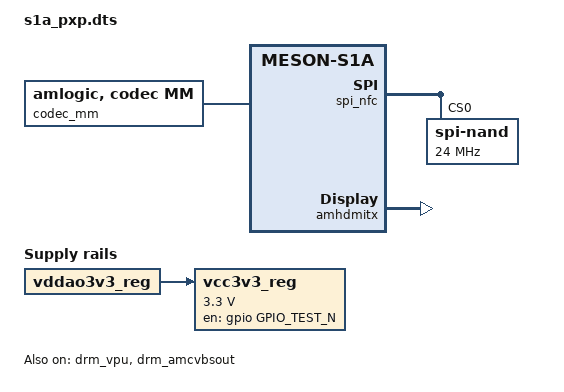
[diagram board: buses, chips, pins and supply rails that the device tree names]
// SPDX-License-Identifier: (GPL-2.0+ OR MIT)
/*
 * Copyright (c) 2019 Amlogic, Inc. All rights reserved.
 */

/dts-v1/;

#include "meson-s1a.dtsi"
#include "mesons1a_drm.dtsi"
#include <dt-bindings/input/input.h>

/ {
	amlogic-dt-id = "s1a_pxp";
	compatible = "s1a_pxp";
	interrupt-parent = <&gic>;
	#address-cells = <1>;
	#size-cells = <1>;

	aliases {
		serial0 = &uart_B;
		i2c1 = &i2c1;
		spi0 = &spi_nfc;
		tsensor0 = &p_tsensor;
	};

	memory@00000000 {
		device_type = "memory";
		linux,usable-memory = <0x0 0x10000000>;
	};

	reserved-memory {
		#address-cells = <1>;
		#size-cells = <1>;
		ranges;

		/* global autoconfigured region for contiguous allocations */
		ramoops@0x07400000 {
			compatible = "ramoops";
			reg = <0x07400000 0x00100000>;
			record-size = <0x20000>;
			console-size = <0x40000>;
			ftrace-size = <0x80000>;
			pmsg-size = <0x10000>;
			bconsole-size = <0x10000>;
		};

		dmc_reserved:linux,dmc_monitor {
			compatible = "amlogic,dmc_monitor-reserved";
			reg = <0x0 0x0>;
			status = "disabled";
		};

		debug_reserved:linux,iotrace {
			compatible = "amlogic, iotrace";
			reg = <0x04f00000 0x00100000>;
			io-size = <0x1b000>;
			sched-size = <0x2000>;
			irq-size = <0x1000>;
			smc-size = <0x1000>;
			misc-size = <0x1000>;
		};

		secmon_reserved:linux,secmon {
			compatible = "shared-dma-pool";
			/*reusable;*/
			no-map;
			size = <0x200000>;
			alignment = <0x100000>;
			alloc-ranges = <0x05000000 0x200000>;
		};

		logo_reserved:linux,meson-fb {
			compatible = "amlogic, meson-fb";
			size = <0x400000>;
			alignment = <0x400000>;
			reg = <0x0fc00000 0x400000>;
		};

		ion_cma_reserved:linux,ion-dev {
			compatible = "shared-dma-pool";
			status = "disabled";
			reusable;
			size = <0x0>;
			alignment = <0x400000>;
		};
		ion_fb_reserved:linux,ion-fb {
			compatible = "shared-dma-pool";
			status = "disabled";
			reusable;
			size = <0x0>;
			alignment = <0x400000>;
		};
		dmaheap_cma_reserved:heap-gfx {
			compatible = "shared-dma-pool";
			reusable;
			size = <0x1000000>;
			alignment = <0x400000>;
		};

		/*di CMA pool */
		di_cma_reserved:linux,di_cma {
			compatible = "shared-dma-pool";
			reusable;
			/* buffer_size = 3621952(yuv422 8bit)
			 *  | 4736064(yuv422 10bit)
			 *  | 4074560(yuv422 10bit full pack mode)
			 * 10x3621952=34.6M(0x23) support 8bit
			 * 10x4736064=45.2M(0x2e) support 12bit
			 * 10x4074560=40M(0x28) support 10bit
			 */
			//size = <0x0 0x0B000000>;
			//size = <0x0 0x0>;
			alignment = <0x400000>;
		};

		codec_mm_cma:linux,codec_mm_cma {
			compatible = "shared-dma-pool";
			reusable;
			/* ion_codec_mm max can alloc size 80M*/
			size = <0x4000000>;
			alignment = <0x400000>;
			linux,contiguous-region;
		};

		/* global autoconfigured region for contiguous allocations */
		linux,cma {
			compatible = "shared-dma-pool";
			reusable;
			size = <0x800000>;
			alignment = <0x400000>;
			linux,cma-default;
			alloc-ranges = <0x0 0x30000000>;
		};
	};

	codec_mm {
		compatible = "amlogic, codec, mm";
		memory-region = <&codec_mm_cma>;
		dev_name = "codec_mm";
		status = "okay";
	};

	cvbsout {
		compatible = "amlogic, cvbsout-s4";
		status = "disabled";

		/* clk path */
		/* 0:vid_pll vid2_clk */
		/* 1:gp0_pll vid2_clk */
		/* 2:vid_pll vid1_clk */
		/* 3:gp0_pll vid1_clk */
		clk_path = <0>;

		/* performance: reg_address, reg_value */
		/* s4 */
		performance_pal = <0x1bf0  0x9 /* default Matrx625 CTCC value*/
			0x1b12  0x80c0
			0x1b05  0xf7
			0x1b56  0x333
			0x1c59  0xf25c
			0xffff  0x0>; /* ending flag */
		performance = <0x1bf0  0x9 /* ccitt033 SVA value */
			0x1b12  0x8040
			0x1b05  0xfd
			0x1b56  0x333
			0x1c59  0xf654
			0xffff  0x0>; /* ending flag */
		performance_ntsc = <0x1bf0  0x9
			0x1b12  0x8020
			0x1b03  0x0
			0x1b04  0x0
			0x1b05  0x0
			0x1b06  0x0
			0x1b56  0x333
			0x1c59  0xf850
			0xffff  0x0>; /* ending flag */
	};

	dvb-extern {
		compatible = "amlogic, dvb-extern";
		dev_name = "dvb-extern";
		status = "disabled";

		/* dvb hardware main power. */
		//dvb_power_gpio = <&gpio GPIOZ_5 GPIO_ACTIVE_HIGH>;
		dvb_power_value = <0>;
		dvb_power_dir = <0>; /* 0: out, 1: in. */

		fe_num = <1>; /* internal 1 * dvb-s */
		fe0_demod = "internal";
		fe0_tuner0 = <0>; /* use tuner0 */

		tuner_num = <1>; /* tuner number, multi tuner support */
		tuner0_name = "av2018_tuner";
		// tuner0_i2c_adap = <&i2c3>;
		tuner0_i2c_addr = <0xC4>; /* 8bit */
		tuner0_lt_out = <0>;
	};

	dvb-demux {
		compatible = "amlogic sc2, dvb-demux";
		dev_name = "dvb-demux";
		status = "disabled";

		reg = <0xfe000000 0x480000>;

		dmxdev_num = <0x11>;

		tsn_from = "demod";

		/*single demod setting */
		ts0_sid = <0x10>;
		ts0 = "serial-4wire"; /* tsinA: serial-4wire, serial-3wire */
		ts0_control = <0x0>;
		ts0_invert = <0>;

		ts1_sid = <0x11>;
		ts1 = "parallel";
		ts1_control = <0x0>;
		ts1_invert = <0>;

		ts2_sid = <0x12>;
		ts2 = "parallel";
		ts2_control = <0x0>;
		ts2_invert = <0>;

		//pinctrl-names = "s_ts0";
		//pinctrl-0 = <&dvb_s_ts0_pins>;
	};

	ionvideo {
		compatible = "amlogic, ionvideo";
		dev_name = "ionvideo";
		status = "disabled";
	};

	amlvideo2_0 {
		compatible = "amlogic, amlvideo2";
		dev_name = "amlvideo2";
		status = "disabled";
		amlvideo2_id = <0>;
		cma_mode = <1>;
	};

	amlvideo2_1 {
		compatible = "amlogic, amlvideo2";
		dev_name = "amlvideo2";
		status = "disabled";
		amlvideo2_id = <1>;
		cma_mode = <1>;
	};

	amlvecm {
		compatible = "amlogic, vecm";
		dev_name = "aml_vecm";
		status = "disabled";
		gamma_en = <0>;/*1:enable ;0:disable*/
		wb_en = <0>;/*1:enable ;0:disable*/
		cm_en = <0>;/*1:enable ;0:disable*/
		/*0: 709/601  1: bt2020*/
		tx_op_color_primary = <0>;
	};

	multi-di {
		compatible = "amlogic, dim-s4";
		status = "disabled";
		/* 0:use reserved; 1:use cma; 2:use cma as reserved */
		flag_cma = <4>;	//<1>;
		//memory-region = <&di_reserved>;
		//memory-region = <&di_cma_reserved>;
		interrupts = <0 203 1
				0 202 1>;
		interrupt-names = "pre_irq", "post_irq";
		//clocks = <&clkc CLKID_VPU_CLKB>,
		//	<&clkc CLKID_VPU>;
		clock-names = "vpu_clkb",
			"vpu_mux";
		clock-range = <334 667>;
		/* buffer-size = <3621952>;(yuv422 8bit) */
		buffer-size = <4074560>;/*yuv422 fullpack*/
		/* reserve-iomap = "true"; */
		/* if enable nr10bit, set nr10bit-support to 1 */
		post-wr-support = <1>;
		nr10bit-support = <1>;
		nrds-enable = <1>;
		pps-enable = <1>;
		post_nub = <5>;
	};

	aml_dtv_demod {
		compatible = "amlogic, ddemod-s4d";
		dev_name = "aml_dtv_demod";
		status = "disabled";
		diseqc_name = "sgm_41286";
		pinctrl-names="if_agc_pins", "if_agc2_pins", "rf_agc_pins", "diseqc_out";
		pinctrl-0=<&dtvdemod_if_agc_pins>;
		pinctrl-1=<&dtvdemod_if_agc2_pins>;
		pinctrl-2=<&dtvdemod_rf_agc_pins>;
		pinctrl-3=<&diseqc_out>;
		//pinctrl-4=<&diseqc_in>;
		//lnb_en-gpios = <&gpio GPIOZ_6 GPIO_ACTIVE_HIGH>;
		//lnb_sel-gpios = <&gpio GPIOZ_4 GPIO_ACTIVE_HIGH>;
		interrupts = <GIC_SPI 221 IRQ_TYPE_EDGE_RISING>;
		interrupt-names = "demod_isr";

		//power-domains = <&pwrdm PDID_S4_DEMOD>;
		/* clocks = <&clkc CLKID_DAC_CLK>; */
		/* clock-names = "vdac_clk_gate"; */

		reg = <0xfe350000 0x10000	/* dtv demod base */
			   0xfe000000 0x2000	/* div base */
			   0xff800000 0x1000	/* io_aobus_base */
			   0xffd01000 0x1000	/* reset */
			>;

		spectrum = <1>;
		cma_mem_size = <0>; // MB
		agc_pin_direction;//for S4D av2018 rf agc reverse
	};

	unifykey{
		compatible = "amlogic,unifykey";
		status = "okay";
		unifykey-num = <19>;
		unifykey-index-0 = <&keysn_0>;
		unifykey-index-1 = <&keysn_1>;
		unifykey-index-2 = <&keysn_2>;
		unifykey-index-3 = <&keysn_3>;
		unifykey-index-4 = <&keysn_4>;
		unifykey-index-5 = <&keysn_5>;
		unifykey-index-6 = <&keysn_6>;
		unifykey-index-7 = <&keysn_7>;
		unifykey-index-8 = <&keysn_8>;
		unifykey-index-9 = <&keysn_9>;
		unifykey-index-10= <&keysn_10>;
		unifykey-index-11= <&keysn_11>;
		unifykey-index-12= <&keysn_12>;
		unifykey-index-13= <&keysn_13>;
		unifykey-index-14= <&keysn_14>;
		unifykey-index-15= <&keysn_15>;
		unifykey-index-16= <&keysn_16>;
		unifykey-index-17= <&keysn_17>;
		unifykey-index-18= <&keysn_18>;

		keysn_0: key_0{
			key-name = "usid";
			key-device = "normal";
			key-permit = "read","write","del";
		};
		keysn_1:key_1{
			key-name = "mac";
			key-device = "normal";
			key-permit = "read","write","del";
		};
		keysn_2:key_2{
			key-name = "hdcp";
			key-device = "secure";
			key-type = "sha1";
			key-permit = "read","write","del";
		};
		keysn_3:key_3{
			key-name = "secure_boot_set";
			key-device = "efuse";
			key-permit = "write";
		};
		keysn_4:key_4{
			key-name = "mac_bt";
			key-device = "normal";
			key-permit = "read","write","del";
			key-type  = "mac";
		};
		keysn_5:key_5{
			key-name = "mac_wifi";
			key-device = "normal";
			key-permit = "read","write","del";
			key-type = "mac";
		};
		keysn_6:key_6{
			key-name = "hdcp2_tx";
			key-device = "normal";
			key-permit = "read","write","del";
		};
		keysn_7:key_7{
			key-name = "hdcp2_rx";
			key-device = "normal";
			key-permit = "read","write","del";
		};
		keysn_8:key_8{
			key-name = "widevinekeybox";
			key-device = "secure";
			key-permit = "read","write","del";
		};
		keysn_9:key_9{
			key-name = "deviceid";
			key-device = "normal";
			key-permit = "read","write","del";
		};
		keysn_10:key_10{
			key-name = "hdcp22_fw_private";
			key-device = "secure";
			key-permit = "read","write","del";
		};
		keysn_11:key_11{
			key-name = "PlayReadykeybox25";
			key-device = "secure";
			key-permit = "read","write","del";
		};
		keysn_12:key_12{
			key-name = "prpubkeybox";// PlayReady
			key-device = "secure";
			key-permit = "read","write","del";
		};
		keysn_13:key_13{
			key-name = "prprivkeybox";// PlayReady
			key-device = "secure";
			key-permit = "read","write","del";
		};
		keysn_14:key_14{
			key-name = "attestationkeybox";// attestation key
			key-device = "secure";
			key-permit = "read","write","del";
		};
		keysn_15:key_15{
			key-name = "region_code";
			key-device = "normal";
			key-permit = "read","write","del";
		};
		keysn_16:key_16{
			key-name = "netflix_mgkid";
			key-device = "secure";
			key-permit = "read","write","del";
		};
		keysn_17:key_17{
			key-name = "attestationdevidbox";// attest dev id box
			key-device = "secure";
			key-permit = "read","write","del";
		};
		keysn_18:key_18{
			key-name = "oemkey";
			key-device = "normal";
			key-permit = "read","write","del";
		};
	};//End unifykey

	efusekey:efusekey{
		keynum = <4>;
		key0 = <&key_0>;
		key1 = <&key_1>;
		key2 = <&key_2>;
		key3 = <&key_3>;
		key_0:key_0{
			keyname = "mac";
			offset = <0>;
			size = <6>;
		};
		key_1:key_1{
			keyname = "mac_bt";
			offset = <6>;
			size = <6>;
		};
		key_2:key_2{
			keyname = "mac_wifi";
			offset = <12>;
			size = <6>;
		};
		key_3:key_3{
			keyname = "usid";
			offset = <18>;
			size = <16>;
		};
	};//End efusekey

	vcc3v3_reg: fixed@vcc3v3_reg{
		compatible = "regulator-fixed";
		vin-supply = <&vddao3v3_reg>;
		regulator-name = "VCC3V3";
		regulator-min-microvolt = <3300000>;
		regulator-max-microvolt = <3300000>;
		gpio = <&gpio GPIO_TEST_N GPIO_ACTIVE_HIGH>;
		startup-delay-us = <70000>;
		enable-active-high;
		regulator-boot-on;
		regulator-always-on;
	};

	/* Audio Related start */
	auge_sound {
		compatible = "amlogic, auge-sound-card";
		status = "disabled";
		aml-audio-card,name = "AML-AUGESOUND";

		/*avout mute gpio*/
		//avout_mute-gpios = <&gpio GPIOH_9 GPIO_ACTIVE_HIGH>;
		//spk_mute-gpios = <&gpio GPIOH_8 GPIO_ACTIVE_LOW>;

		aml-audio-card,dai-link@0 {
			format = "dsp_a";
			mclk-fs = <512>;
			//continuous-clock;
			//bitclock-inversion;
			//frame-inversion;
			/* master mode */
			bitclock-master = <&tdma>;
			frame-master = <&tdma>;
			/* slave mode */
			/*
			 * bitclock-master = <&tdmacodec>;
			 * frame-master = <&tdmacodec>;
			 */
			suffix-name = "alsaPORT-pcm";
			tdmacpu: cpu {
				sound-dai = <&tdma>;
				dai-tdm-slot-tx-mask =
							<1>;
				dai-tdm-slot-rx-mask =
							<1>;
				dai-tdm-slot-num = <2>;
				dai-tdm-slot-width = <16>;
				system-clock-frequency = <256000>;
			};
			tdmacodec: codec {
				sound-dai = <&dummy_codec>;
			};
		};

		aml-audio-card,dai-link@1 {
			format = "i2s";// "dsp_a";
			mclk-fs = <256>;
			continuous-clock;
			//bitclock-inversion;
			//frame-inversion;
			/* master mode */
			bitclock-master = <&tdmb>;
			frame-master = <&tdmb>;
			/* slave mode */
			//bitclock-master = <&tdmbcodec>;
			//frame-master = <&tdmbcodec>;
			/* suffix-name, sync with android audio hal
			 * what's the dai link used for
			 */
			suffix-name = "alsaPORT-i2s";
			cpu {
				sound-dai = <&tdmb>;
				dai-tdm-slot-tx-mask = <1 1>;
				dai-tdm-slot-rx-mask = <1 1>;
				dai-tdm-slot-num = <2>;
				/*
				 * dai-tdm-slot-tx-mask =
				 *	<1 1 1 1 1 1 1 1>;
				 * dai-tdm-slot-rx-mask =
				 *	<1 1 1 1 1 1 1 1>;
				 * dai-tdm-slot-num = <8>;
				 */
				dai-tdm-slot-width = <32>;
				system-clock-frequency = <12288000>;
			};
			tdmbcodec: codec {
				sound-dai = <&amlogic_codec>;
			};
		};

		aml-audio-card,dai-link@2 {
			format = "i2s";
			mclk-fs = <256>;
			//continuous-clock;
			//bitclock-inversion;
			//frame-inversion;
			/* master mode */
			bitclock-master = <&tdmc>;
			frame-master = <&tdmc>;
			/* slave mode */
			//bitclock-master = <&tdmccodec>;
			//frame-master = <&tdmccodec>;
			/* suffix-name, sync with android audio hal used for */
			suffix-name = "alsaPORT-i2s";
			cpu {
				sound-dai = <&tdmc>;
				dai-tdm-slot-tx-mask = <1 1>;
				dai-tdm-slot-rx-mask = <1 1>;
				dai-tdm-slot-num = <2>;
				dai-tdm-slot-width = <32>;
				system-clock-frequency = <12288000>;
			};
			tdmccodec: codec {
				sound-dai = <&dummy_codec>;
			};
		};

		aml-audio-card,dai-link@3 {
			mclk-fs = <64>;
			/* suffix-name, sync with android audio hal
			 * what's the dai link used for
			 */
			suffix-name = "alsaPORT-pdm-builtinmic";
			cpu {
				sound-dai = <&apdm>;
			};
			codec {
				sound-dai = <&dummy_codec>;
			};
		};

		aml-audio-card,dai-link@4 {
			mclk-fs = <128>;
			/* suffix-name, sync with android audio hal used for */
			suffix-name = "alsaPORT-spdif";
			cpu {
				sound-dai = <&spdifa>;
				system-clock-frequency = <6144000>;
			};
			codec {
				sound-dai = <&dummy_codec>;
			};
		};
		/* spdif_b to hdmi, only playback */
		aml-audio-card,dai-link@5 {
			mclk-fs = <128>;
			continuous-clock;
			/* suffix-name, sync with android audio hal
			 * what's the dai link used for
			 */
			suffix-name = "alsaPORT-spdifb";
			cpu {
				sound-dai = <&spdifb>;
				system-clock-frequency = <6144000>;
			};
			codec {
				sound-dai = <&dummy_codec>;
			};
		};

		aml-audio-card,dai-link@6 {
			mclk-fs = <256>;
			continuous-clock;
			suffix-name = "alsaPORT-loopback";
			cpu {
				sound-dai = <&loopbacka>;
				system-clock-frequency = <12288000>;
			};
			codec {
				sound-dai = <&dummy_codec>;
			};
		};
	};

	picdec {
		compatible = "amlogic, picdec";
		status = "disabled";
	};

	audiolocker: locker {
		compatible = "amlogic, audiolocker";
		clock-names = "lock_out", "lock_in", "out_src",
					"in_src", "out_calc", "in_ref";
		interrupts = <GIC_SPI 1 IRQ_TYPE_EDGE_RISING>;
		interrupt-names = "irq";
		frequency = <49000000>; /* pll */
		dividor = <49>; /* locker's parent */
		status = "disabled";
	};/* Audio Related end */

	adc_keypad {
		compatible = "amlogic, adc_keypad";
		status = "disabled";
		key_name = "standby", "vol+", "vol-";
		key_num = <3>;
		io-channels = <&saradc 0>;
		io-channel-names = "key-chan-0";
		key_chan = <0 0 0>;
		key_code = <116 115 114>;
		key_val = <20 910 630>; //val=voltage/1800mV*1023
		key_tolerance = <40 40 40>;
	};

	gpio_keypad{
		compatible = "amlogic, gpio_keypad";
		status = "disabled";
		scan_period = <20>;
		key_num = <2>;
		key_name = "bluetooth", "mute";
		key_code = <600 SW_MUTE_DEVICE>;
		key_type = <EV_KEY EV_SW>;
		//key-gpios = <&gpio  GPIOD_6  GPIO_ACTIVE_HIGH
		//	     &gpio  GPIOD_3  GPIO_ACTIVE_HIGH>;
		detect_mode = <0>;/*0:polling mode, 1:irq mode*/
	};
};

&vddcpu0 {
	status = "okay";
};

&audiobus {
	status = "disabled";
	tdma: tdm@0 {
		compatible = "amlogic, t5-snd-tdma";
		#sound-dai-cells = <0>;
		dai-tdm-lane-slot-mask-in = <1>;
		dai-tdm-lane-slot-mask-out = <1 0>;
		dai-tdm-clk-sel = <0>;
		//clocks = <&clkaudio CLKID_AUDIO_MCLK_A
		//		&clkc CLKID_MPLL0>;
		clock-names = "mclk", "clk_srcpll";
		pinctrl-names = "tdm_pins";
		pinctrl-0 = <&tdm_a
			&tdm_d0_pins
			&tdm_d1_pins
			&tdma_clk_pins>;

		status = "disabled";
	};

	tdmb: tdm@1 {
		compatible = "amlogic, t5-snd-tdmb";
		#sound-dai-cells = <0>;
		dai-tdm-lane-slot-mask-out = <1 1 1 1>;
		dai-tdm-clk-sel = <1>;
		//clocks = <&clkaudio CLKID_AUDIO_MCLK_B
		//		&clkaudio CLKID_AUDIO_MCLK_PAD0
		//		&clkc CLKID_MPLL1>;
		clock-names = "mclk", "mclk_pad",  "clk_srcpll";
		/*
		 * 0: tdmout_a;
		 * 1: tdmout_b;
		 * 2: tdmout_c;
		 * 3: spdifout;
		 * 4: spdifout_b;
		 */
		samesource_sel = <3>;

		/*enable default mclk(12.288M), before extern codec start*/
		start_clk_enable = <1>;

		/*tdm clk tuning enable*/
		clk_tuning_enable = <1>;

		status = "disabled";

		/* !!!For --TV platform-- ONLY */
		Channel_Mask {
			/*i2s has 4 pins, 8channel, mux output*/
			Spdif_samesource_Channel_Mask = "i2s_0/1";
		};
	};

	tdmc: tdm@2 {
		compatible = "amlogic, t5-snd-tdmc";
		#sound-dai-cells = <0>;
		dai-tdm-lane-slot-mask-out = <1>;
		dai-tdm-clk-sel = <2>;
		//clocks = <&clkaudio CLKID_AUDIO_MCLK_C
		//		&clkc CLKID_MPLL2>;
		clock-names = "mclk", "clk_srcpll";

		status = "disabled";
	};

	spdifa: spdif@0 {
		compatible = "amlogic, tm2-revb-snd-spdif-a";
		#sound-dai-cells = <0>;
		//clocks = <&clkc CLKID_MPLL0
		//		&clkc CLKID_FCLK_DIV4
		//		&clkaudio CLKID_AUDIO_GATE_SPDIFIN
		//		&clkaudio CLKID_AUDIO_GATE_SPDIFOUT_A
		//		&clkaudio CLKID_AUDIO_SPDIFIN
		//		&clkaudio CLKID_AUDIO_SPDIFOUT_A>;
		clock-names = "sysclk", "clk_src_cd", "gate_spdifout","clk_spdifout";
		interrupts =
				<GIC_SPI 35 IRQ_TYPE_EDGE_RISING>;

		interrupt-names = "irq_spdifin";
		pinctrl-names = "spdif_pins", "spdif_pins_mute";
		pinctrl-0 = <&spdifout>;
		pinctrl-1 = <&spdifout_a_mute>;

		/*spdif clk tuning enable*/
		clk_tuning_enable = <1>;

		status = "disabled";
	};
	spdifb: spdif@1 {
		compatible = "amlogic, tm2-revb-snd-spdif-b";
		#sound-dai-cells = <0>;
		//clocks = <&clkc CLKID_MPLL0 /*CLKID_HIFI_PLL*/
		//		&clkaudio CLKID_AUDIO_GATE_SPDIFOUT_B
		//		&clkaudio CLKID_AUDIO_SPDIFOUT_B>;
		clock-names = "sysclk",
				"gate_spdifout", "clk_spdifout";

		status = "disabled";
	};
	apdm: pdm {
		compatible = "amlogic, sm1-snd-pdm";
		#sound-dai-cells = <0>;

		//clocks = <&clkaudio CLKID_AUDIO_GATE_PDM
		//	&clkc CLKID_FCLK_DIV3
		//	&clkc CLKID_MPLL3
		//	&clkaudio CLKID_AUDIO_PDMIN0
		//	&clkaudio CLKID_AUDIO_PDMIN1>;
		clock-names = "gate",
			"sysclk_srcpll",
			"dclk_srcpll",
			"pdm_dclk",
			"pdm_sysclk";

		pinctrl-names = "pdm_pins";
		pinctrl-0 = <&pdmin>;

		/* mode 0~4, defalut:1 */
		filter_mode = <1>;

		status = "disabled";
	};

	asrca: resample@0 {
		compatible = "amlogic, t5-resample-a";
		//clocks = <&clkc CLKID_MPLL3
		//		&clkaudio CLKID_AUDIO_MCLK_F
		//		&clkaudio CLKID_AUDIO_RESAMPLE_A>;
		clock-names = "resample_pll", "resample_src", "resample_clk";
		/*same with toddr_src
		 *	TDMIN_A, 0
		 *	TDMIN_B, 1
		 *	TDMIN_C, 2
		 *	SPDIFIN, 3
		 *	PDMIN,  4
		 *	NONE,
		 *	TDMIN_LB, 6
		 *	LOOPBACK, 7
		 */
		resample_module = <4>;
		status = "disabled";
	};

	asrcb:resample@1 {
		compatible = "amlogic, t5-resample-b";
		//clocks = <&clkc CLKID_MPLL3
		//	&clkaudio CLKID_AUDIO_MCLK_F
		//	&clkaudio CLKID_AUDIO_RESAMPLE_B>;
		clock-names = "resample_pll", "resample_src", "resample_clk";

		/*this resample is only used for loopback_A.*/
		capture_sample_rate = <16000>;

		status = "disabled";
	};

	vad:vad {
		compatible = "amlogic, snd-vad";
		#sound-dai-cells = <0>;

		//clocks = <&clkaudio CLKID_AUDIO_GATE_TOVAD
		//	&clkc CLKID_FCLK_DIV5
		//	&clkaudio CLKID_AUDIO_VAD>;
		clock-names = "gate", "pll", "clk";

		interrupts = <GIC_SPI 39 IRQ_TYPE_EDGE_RISING
				GIC_SPI 44 IRQ_TYPE_EDGE_RISING>;
		interrupt-names = "irq_wakeup", "irq_frame_sync";

		/*
		 * Data src sel:
		 * 0: tdmin_a;
		 * 1: tdmin_b;
		 * 2: tdmin_c;
		 * 3: spdifin;
		 * 4: pdmin;
		 * 5: loopback_b;
		 * 6: tdmin_lb;
		 * 7: loopback_a;
		 */
		src = <4>;

		/*
		 * deal with hot word in user space or kernel space
		 * 0: in user space
		 * 1: in kernel space
		 */
		level = <1>;

		status = "disabled";
	};

	loopbacka:loopback@0 {
		compatible = "amlogic, t5-loopbacka";
		#sound-dai-cells = <0>;

		//clocks = <&clkaudio CLKID_AUDIO_GATE_PDM
		//	&clkc CLKID_FCLK_DIV3
		//	&clkc CLKID_MPLL3
		//	&clkaudio CLKID_AUDIO_PDMIN0
		//	&clkaudio CLKID_AUDIO_PDMIN1
		//	&clkc CLKID_MPLL0
		//	&clkaudio CLKID_AUDIO_MCLK_A>;
		clock-names = "pdm_gate",
			"pdm_sysclk_srcpll",
			"pdm_dclk_srcpll",
			"pdm_dclk",
			"pdm_sysclk",
			"tdminlb_mpll",
			"tdminlb_mclk";

		/* datain src
		 * 0: tdmin_a;
		 * 1: tdmin_b;
		 * 2: tdmin_c;
		 * 3: spdifin;
		 * 4: pdmin;
		 */
		datain_src = <4>;
		datain_chnum = <2>;
		datain_chmask = <0x3>;
		/* config which data pin for loopback */
		datain-lane-mask-in = <1 0 0 0>;

		/* calc mclk for datalb */
		mclk-fs = <256>;

		/* tdmin_lb src
		 * 0: tdmoutA
		 * 1: tdmoutB
		 * 2: tdmoutC
		 * 3: PAD_TDMINA_DIN*, refer to core pinmux
		 * 4: PAD_TDMINB_DIN*, refer to core pinmux
		 * 5: PAD_TDMINC_DIN*, refer to core pinmux
		 * 6: PAD_TDMINA_D*, oe, refer to core pinmux
		 * 7: PAD_TDMINB_D*, oe, refer to core pinmux
		 */
		/* if tdmin_lb >= 3, use external loopback */
		datalb_src = <1>;
		datalb_chnum = <2>;
		datalb_chmask = <0x3>;
		/* config which data pin as loopback */
		datalb-lane-mask-in = <1 0 0 0>;

		status = "disabled";
	};

	loopbackb:loopback@1 {
		compatible = "amlogic, t5-loopbackb";
		#sound-dai-cells = <0>;

		//clocks = <&clkaudio CLKID_AUDIO_GATE_PDM
		//	&clkc CLKID_FCLK_DIV3
		//	&clkc CLKID_MPLL3
		//	&clkaudio CLKID_AUDIO_PDMIN0
		//	&clkaudio CLKID_AUDIO_PDMIN1
		//	&clkc CLKID_MPLL0
		//	&clkaudio CLKID_AUDIO_MCLK_A>;
		clock-names = "pdm_gate",
			"pdm_sysclk_srcpll",
			"pdm_dclk_srcpll",
			"pdm_dclk",
			"pdm_sysclk",
			"tdminlb_mpll",
			"tdminlb_mclk";

		/* calc mclk for datain_lb */
		mclk-fs = <256>;

		/* datain src
		 * 0: tdmin_a;
		 * 1: tdmin_b;
		 * 2: tdmin_c;
		 * 3: spdifin;
		 * 4: pdmin;
		 */
		datain_src = <4>;
		datain_chnum = <4>;
		datain_chmask = <0xf>;
		/* config which data pin for loopback */
		datain-lane-mask-in = <1 0 1 0>;

		/* tdmin_lb src
		 * 0: tdmoutA
		 * 1: tdmoutB
		 * 2: tdmoutC
		 * 3: PAD_TDMINA_DIN*, refer to core pinmux
		 * 4: PAD_TDMINB_DIN*, refer to core pinmux
		 * 5: PAD_TDMINC_DIN*, refer to core pinmux
		 * 6: PAD_TDMINA_D*, oe, refer to core pinmux
		 * 7: PAD_TDMINB_D*, oe, refer to core pinmux
		 */
		/* if tdmin_lb >= 3, use external loopback */
		datalb_src = <1>;
		datalb_chnum = <2>;
		datalb_chmask = <0x3>;
		/* config which data pin as loopback */
		datalb-lane-mask-in = <1 0 0 0>;

		status = "disabled";
	};
	aed:effect {
		compatible = "amlogic, snd-effect-v3";
		#sound-dai-cells = <0>;
		//clocks = <&clkaudio CLKID_AUDIO_GATE_EQDRC
		//	&clkc CLKID_FCLK_DIV5
		//	&clkaudio CLKID_AUDIO_EQDRC>;
		clock-names = "gate", "srcpll", "eqdrc";
		/*
		 * 0:tdmout_a
		 * 1:tdmout_b
		 * 2:tdmout_c
		 * 3:spdifout
		 * 4:spdifout_b
		 */
		eqdrc_module = <1>;
		/* max 0xf, each bit for one lane, usually one lane */
		lane_mask = <0x1>;
		/* max 0xff, each bit for one channel */
		channel_mask = <0x3>;
		status = "disabled";
	};
}; /* end of audiobus */

&pinctrl_audio {
	tdm_d0_pins: tdm_d0_pin {
		mux {
			groups = "tdm_d0";
			function = "tdmouta_lane0";
		};
	};

	tdm_d1_pins: tdm_d1_pin {
		mux {
			groups = "tdm_d1";
			function = "tdmina_lane0";
		};
	};

	tdma_clk_pins: tdm_clk_pin {
		mux {
			groups = "tdm_sclk0", "tdm_lrclk0";
			function = "tdm_clk_outa";
		};
	};
};

&periphs_pinctrl {
	tdm_a: tdm_a {
		mux { /* GPIOX_11, GPIOX_10, GPIOX_9, GPIOX_8 */
			groups = "tdm_sclk0",
				"tdm_fs0",
				"tdm_d0",
				"tdm_d1";
			function = "tdm";
		};
	};

	pdmin: pdmin {
		mux { /* GPIOD_8, GPIOD_9 */
			groups = "pdm_din0_d";
			function = "pdm";
		};
		mux1 {
			groups = "pdm_dclk_d";
			function = "pdm";
			drive-strength-microamp = <500>;
		};
	};

	spdifout: spdifout {
		mux { /* GPIOH_4 */
			groups = "spdif_out_h";
			function = "spdif_out";
		};
	};

	spdifout_a_mute: spdifout_a_mute {
		mux { /* GPIOH_4 */
			groups = "GPIOH_4";
			function = "gpio_periphs";
			output-low;
		};
	};

	//dvb_s_ts0_pins: dvb_s_ts0_pins {
	//	tsin_a {
	//		groups = "tsin_a_sop",
	//			"tsin_a_valid",
	//			"tsin_a_clk",
	//			"tsin_a_din0";
	//		function = "tsin_a";
	//	};
	//};
}; /* end of periphs_pinctrl */

&audio_data {
	status = "disabled";
};

&crg_phy_20 {
	status = "disabled";
	portnum = <1>;
};

&crg3_phy_20 {
	status = "disabled";
	portnum = <0>;
};

&crg20_otg {
	status = "disabled";
	controller-type = <1>; /* 0~3: normal, host, device, otg */
};

&crg20_drd {
	status = "disabled";
};

&crg_udc_2 {
	status = "disabled";
};

&saradc {
	status = "disabled";
};

&spi_nfc {
	status = "okay";
	pinctrl-names = "default";
	pinctrl-0 = <&spinf_pins>;
	spi-nand@0 {
		compatible = "spi-nand";
		status = "okay";
		reg = <0>;
		spi-max-frequency = <24000000>;
		spi-tx-bus-width = <1>;
		spi-rx-bus-width = <1>;
		bl_mode = <2>; /* advance mode */
		fip_copies = <4>;
		info_p_mode = <1>; /* Info page on page 0 */
		partition = <&snand_partitions>;
		snand_partitions: snand_partitions{
			bootloader{
				offset=<0x0 0x0>;
				size=<0x0 0x0>;
			};
			bl2e{
				offset=<0x0 0x0>;
				size=<0x0 0x80000>;
			};
			bl2x{
				offset=<0x0 0x0>;
				size=<0x0 0x80000>;
			};
			ddrfip{
				offset=<0x0 0x0>;
				size=<0x0 0x100000>;
			};
			devfip{
				offset=<0x0 0x0>;
				size=<0x0 0xc00000>;
			};
			logo{
				offset=<0x0 0x0>;
				size=<0x0 0x200000>;
			};
			data{
				offset=<0xffffffff 0xffffffff>;
				size=<0x0 0x0>;
			};
		};
	};
};

&drm_vpu {
	status = "okay";
	logo_addr = "0x0fc00000";
};

&amhdmitx {
	res_1080p = <1>;
	status = "okay";
    /* hdcp ctrl 0: sysctrl, 1: drv, 2: linux app */
	hdcp_ctl_lvl = <1>;
	pxp_mode = <1>;
};

&drm_amcvbsout {
	status = "okay";
};

&vpu {
	clk_level = <6>;
};

//&gpu {
//	tbl =  <&dvfs285_cfg
//		&dvfs400_cfg
//		&dvfs500_cfg
//		&dvfs666_cfg
//		&dvfs800_cfg
//		&dvfs800_cfg>;
//};

&cma_shrinker {
	free = <7680 24288 28528 32600 32768 36624>;
};

/*
 *&drm_subsystem {
 *	fbdev_sizes = <1280 720 1280 1440 32>;
 *};
 */

&amlogic_codec {
	status = "disabled";
	tocodec_inout = <1>;
	tdmout_index = <1>;
};
